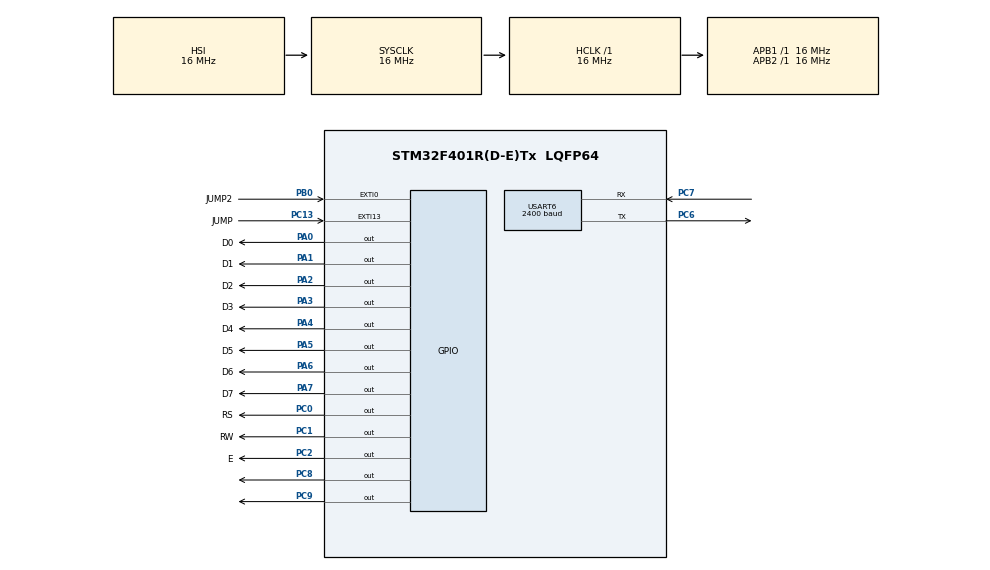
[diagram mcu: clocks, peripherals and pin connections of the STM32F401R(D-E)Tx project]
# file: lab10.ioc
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Mcu.Family=STM32F4
Mcu.Name=STM32F401R(D-E)Tx
Mcu.Package=LQFP64
NVIC.EXTI0_IRQn=true\:0\:0\:false\:false\:true\:true\:true\:true
NVIC.EXTI15_10_IRQn=true\:0\:0\:false\:false\:true\:true\:true\:true
NVIC.PriorityGroup=NVIC_PRIORITYGROUP_0
NVIC.USART6_IRQn=true\:0\:0\:false\:false\:true\:true\:true\:true
PA0-WKUP.GPIO_Label=D0
PA0-WKUP.GPIO_PuPd=GPIO_PULLDOWN
PA0-WKUP.GPIO_Speed=GPIO_SPEED_FREQ_VERY_HIGH
PA0-WKUP.Signal=GPIO_Output
PA1.GPIO_Label=D1
PA1.GPIO_PuPd=GPIO_PULLDOWN
PA1.GPIO_Speed=GPIO_SPEED_FREQ_VERY_HIGH
PA1.Signal=GPIO_Output
PA13.GPIO_Label=TMS
PA13.Mode=Serial_Wire
PA13.Signal=SYS_JTMS-SWDIO
PA14.GPIO_Label=TCK
PA14.Mode=Serial_Wire
PA14.Signal=SYS_JTCK-SWCLK
PA2.GPIO_Label=D2
PA2.GPIO_PuPd=GPIO_PULLDOWN
PA2.GPIO_Speed=GPIO_SPEED_FREQ_VERY_HIGH
PA2.Signal=GPIO_Output
PA3.GPIO_Label=D3
PA3.GPIO_PuPd=GPIO_PULLDOWN
PA3.GPIO_Speed=GPIO_SPEED_FREQ_VERY_HIGH
PA3.Signal=GPIO_Output
PA4.GPIO_Label=D4
PA4.GPIO_PuPd=GPIO_PULLDOWN
PA4.GPIO_Speed=GPIO_SPEED_FREQ_VERY_HIGH
PA4.Signal=GPIO_Output
PA5.GPIO_Label=D5
PA5.GPIO_PuPd=GPIO_PULLDOWN
PA5.GPIO_Speed=GPIO_SPEED_FREQ_VERY_HIGH
PA5.Signal=GPIO_Output
PA6.GPIO_Label=D6
PA6.GPIO_PuPd=GPIO_PULLDOWN
PA6.GPIO_Speed=GPIO_SPEED_FREQ_VERY_HIGH
PA6.Signal=GPIO_Output
PA7.GPIO_Label=D7
PA7.GPIO_PuPd=GPIO_PULLDOWN
PA7.GPIO_Speed=GPIO_SPEED_FREQ_VERY_HIGH
PA7.Signal=GPIO_Output
PB0.GPIO_Label=JUMP2
PB0.GPIO_PuPd=GPIO_PULLDOWN
PB0.Signal=GPXTI0
PB3.GPIO_Label=SWO
PB3.Signal=SYS_JTDO-SWO
PC0.GPIO_Label=RS
PC0.GPIO_PuPd=GPIO_PULLDOWN
PC0.GPIO_Speed=GPIO_SPEED_FREQ_VERY_HIGH
PC0.Signal=GPIO_Output
PC1.GPIO_Label=RW
PC1.GPIO_PuPd=GPIO_PULLDOWN
PC1.GPIO_Speed=GPIO_SPEED_FREQ_VERY_HIGH
PC1.Signal=GPIO_Output
PC13-ANTI_TAMP.GPIO_Label=JUMP
PC13-ANTI_TAMP.GPIO_ModeDefaultEXTI=GPIO_MODE_IT_RISING
PC13-ANTI_TAMP.GPIO_PuPd=GPIO_NOPULL
PC13-ANTI_TAMP.Signal=GPXTI13
PC14-OSC32_IN.Mode=LSE-External-Oscillator
PC14-OSC32_IN.Signal=RCC_OSC32_IN
PC15-OSC32_OUT.Mode=LSE-External-Oscillator
PC15-OSC32_OUT.Signal=RCC_OSC32_OUT
PC2.GPIO_Label=E
PC2.GPIO_PuPd=GPIO_PULLDOWN
PC2.GPIO_Speed=GPIO_SPEED_FREQ_VERY_HIGH
PC2.Signal=GPIO_Output
PC6.Mode=Asynchronous
PC6.Signal=USART6_TX
PC7.Mode=Asynchronous
PC7.Signal=USART6_RX
PC8.GPIO_PuPd=GPIO_PULLDOWN
PC8.GPIO_Speed=GPIO_SPEED_FREQ_VERY_HIGH
PC8.PinState=GPIO_PIN_RESET
PC8.Signal=GPIO_Output
PC9.GPIO_PuPd=GPIO_PULLDOWN
PC9.GPIO_Speed=GPIO_SPEED_FREQ_VERY_HIGH
PC9.Signal=GPIO_Output
PH0\ -\ OSC_IN.Mode=HSE-External-Clock-Source
PH0\ -\ OSC_IN.Signal=RCC_OSC_IN
PH1\ -\ OSC_OUT.Mode=HSE-External-Clock-Source
PH1\ -\ OSC_OUT.Signal=RCC_OSC_OUT
ProjectManager.HeapSize=0x200
ProjectManager.StackSize=0x400
ProjectManager.TargetToolchain=MDK-ARM V5.32
RCC.48MHZClocksFreq_Value=48000000
RCC.AHBFreq_Value=16000000
RCC.APB1Freq_Value=16000000
RCC.APB1TimFreq_Value=16000000
RCC.APB2Freq_Value=16000000
RCC.APB2TimFreq_Value=16000000
RCC.CortexFreq_Value=16000000
RCC.HCLKFreq_Value=16000000
RCC.HSE_VALUE=8000000
RCC.HSI_VALUE=16000000
RCC.PLLN=336
RCC.PLLP=RCC_PLLP_DIV4
RCC.PLLQ=7
RCC.SYSCLKFreq_VALUE=16000000
RCC.VCOOutputFreq_Value=336000000
USART6.BaudRate=2400
USART6.Mode=MODE_TX_RX
USART6.VirtualMode=VM_ASYNC
board=NUCLEO-F401RE

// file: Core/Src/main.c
/* USER CODE BEGIN Header */
/**
 ******************************************************************************
 * @file           : main.c
 * @brief          : Main program body
 ******************************************************************************
 * @attention
 *
 * Copyright (c) 2024 STMicroelectronics.
 * All rights reserved.
 *
 * This software is licensed under terms that can be found in the LICENSE file
 * in the root directory of this software component.
 * If no LICENSE file comes with this software, it is provided AS-IS.
 *
 ******************************************************************************
 */
/* USER CODE END Header */
#include "main.h"

/* USER CODE BEGIN PD */
#define VTBUFSIZE 64
#define LCD_COMMAND_CLEAR_DISPLAY 0x01
#define LCD_COMMAND_RETURN_HOME 0x02
#define LCD_COMMAND_INCREMENT_CURSOR 0x06
#define LCD_COMMAND_DISPLAY_ON_CURSOR_BLINKING 0x0F
#define LCD_COMMAND_BRING_CURSOR_FIRST_LINE 0x80
#define LCD_COMMAND_BRING_CURSOR_SECOND_LINE 0xC0
#define LCD_COMMAND_8_BIT_2_LINE_5_7_MATRIX 0x38
#define LCD_COMMAND_4_BIT_2_LINE_5_7_MATRIX 0x28
/* USER CODE END PD */

UART_HandleTypeDef huart6;

/* USER CODE BEGIN PV */
volatile int done = 0;
volatile int recieving_score = 0;
volatile int send_key = 0;
volatile int sequence_number = 0;

char vtbuf[VTBUFSIZE];
uint8_t ack_byte[] = {1, 2};

/* USER CODE END PV */

void SystemClock_Config(void);
static void MX_GPIO_Init(void);
static void MX_USART6_UART_Init(void);
/* USER CODE BEGIN PFP */
void lcd_init(void);
void lcd_command(uint8_t);
void lcd_enable(void);
void lcd_output_data(uint16_t);
void lcd_print_char(uint8_t);
void lcd_print_string(uint8_t *);

/* USER CODE END PFP */

/* USER CODE BEGIN 0 */
void HAL_UART_RxCpltCallback(UART_HandleTypeDef *huart)
{
    recieving_score = 1;
    HAL_UART_Transmit(&huart6, ack_byte + sequence_number, 1, HAL_MAX_DELAY);
    if (sequence_number >= 1)
    {
        done = 1;
        recieving_score = 0;
        sequence_number = 0;
    }
    else
    {
        sequence_number++;
        HAL_UART_Receive_IT(&huart6, (uint8_t *)(vtbuf + sequence_number), 1);
    }
}

void lcd_init()
{
    lcd_command(LCD_COMMAND_8_BIT_2_LINE_5_7_MATRIX);
    lcd_command(LCD_COMMAND_INCREMENT_CURSOR);
    lcd_command(LCD_COMMAND_CLEAR_DISPLAY);
    lcd_command(LCD_COMMAND_DISPLAY_ON_CURSOR_BLINKING);
}

void lcd_enable(void)
{
    HAL_GPIO_WritePin(E_GPIO_Port, E_Pin, GPIO_PIN_SET); // EN = 1 => enable
    HAL_Delay(1);
    HAL_GPIO_WritePin(E_GPIO_Port, E_Pin, GPIO_PIN_RESET); // EN = 0 => disable
}

void lcd_output_data(uint16_t data)
{
    D0_GPIO_Port->ODR &= ~(0xFFUL << 0); // clear data
    GPIOC->ODR &= ~(3UL << 8);           // clear data
    D0_GPIO_Port->ODR |= (data << 0);
    GPIOC->ODR |= (data << 6);
}

void lcd_command(uint8_t command)
{
    HAL_GPIO_WritePin(RS_GPIO_Port, RS_Pin, GPIO_PIN_RESET); // RS = 0 => command
    HAL_GPIO_WritePin(RW_GPIO_Port, RW_Pin, GPIO_PIN_RESET); // RW = 0 => write
    lcd_output_data(command);
    lcd_enable();
}

void lcd_print_char(uint8_t character)
{
    HAL_GPIO_WritePin(RS_GPIO_Port, RS_Pin, GPIO_PIN_SET);   // RS = 1 => data
    HAL_GPIO_WritePin(RW_GPIO_Port, RW_Pin, GPIO_PIN_RESET); // RW = 0 => write
    lcd_output_data(character);
    lcd_enable();
}

void lcd_print_string(uint8_t *string)
{
    while (*string != '\0')
    {
        lcd_print_char(*string);
        string++;
    }
}

void HAL_GPIO_EXTI_Callback(uint16_t GPIO_Pin)
{
    send_key = 1;
}

/* USER CODE END 0 */

int main(void)
{

    /* MCU Configuration--------------------------------------------------------*/

    /* Reset of all peripherals, Initializes the Flash interface and the Systick. */
    HAL_Init();

    /* Configure the system clock */
    SystemClock_Config();

    /* Initialize all configured peripherals */
    MX_GPIO_Init();
    MX_USART6_UART_Init();
    /* USER CODE BEGIN 2 */
    lcd_init();
    lcd_print_string("Hello World!");
    /* USER CODE END 2 */

    /* Infinite loop */
    /* USER CODE BEGIN WHILE */
    HAL_UART_Receive_IT(&huart6, (uint8_t *)vtbuf, 1);

    while (1)
    {
        /* USER CODE END WHILE */

        /* USER CODE BEGIN 3 */
        if (done)
        {
            uint16_t score = vtbuf[0];
            score |= ((uint16_t)vtbuf[1]) << 8;

            uint8_t buffer[32];
            sprintf(buffer, "Score= %05d", score);

            lcd_command(LCD_COMMAND_CLEAR_DISPLAY);
            lcd_print_string(buffer);

            done = 0;
            HAL_UART_Receive_IT(&huart6, (uint8_t *)vtbuf, 1);
        }

        if (!recieving_score && send_key)
        {
            uint8_t jump[] = {0xFF};
            HAL_UART_Transmit(&huart6, jump, 1, HAL_MAX_DELAY);
            send_key = 0;
        }
    }
    /* USER CODE END 3 */
}

void SystemClock_Config(void)
{
    RCC_OscInitTypeDef RCC_OscInitStruct = {0};
    RCC_ClkInitTypeDef RCC_ClkInitStruct = {0};

    /** Configure the main internal regulator output voltage
     */
    __HAL_RCC_PWR_CLK_ENABLE();
    __HAL_PWR_VOLTAGESCALING_CONFIG(PWR_REGULATOR_VOLTAGE_SCALE2);

    /** Initializes the RCC Oscillators according to the specified parameters
     * in the RCC_OscInitTypeDef structure.
     */
    RCC_OscInitStruct.OscillatorType = RCC_OSCILLATORTYPE_HSI;
    RCC_OscInitStruct.HSIState = RCC_HSI_ON;
    RCC_OscInitStruct.HSICalibrationValue = RCC_HSICALIBRATION_DEFAULT;
    RCC_OscInitStruct.PLL.PLLState = RCC_PLL_NONE;
    if (HAL_RCC_OscConfig(&RCC_OscInitStruct) != HAL_OK)
    {
        Error_Handler();
    }

    /** Initializes the CPU, AHB and APB buses clocks
     */
    RCC_ClkInitStruct.ClockType = RCC_CLOCKTYPE_HCLK | RCC_CLOCKTYPE_SYSCLK | RCC_CLOCKTYPE_PCLK1 | RCC_CLOCKTYPE_PCLK2;
    RCC_ClkInitStruct.SYSCLKSource = RCC_SYSCLKSOURCE_HSI;
    RCC_ClkInitStruct.AHBCLKDivider = RCC_SYSCLK_DIV1;
    RCC_ClkInitStruct.APB1CLKDivider = RCC_HCLK_DIV1;
    RCC_ClkInitStruct.APB2CLKDivider = RCC_HCLK_DIV1;

    if (HAL_RCC_ClockConfig(&RCC_ClkInitStruct, FLASH_LATENCY_0) != HAL_OK)
    {
        Error_Handler();
    }
}

static void MX_USART6_UART_Init(void)
{

    huart6.Instance = USART6;
    huart6.Init.BaudRate = 2400;
    huart6.Init.WordLength = UART_WORDLENGTH_8B;
    huart6.Init.StopBits = UART_STOPBITS_1;
    huart6.Init.Parity = UART_PARITY_NONE;
    huart6.Init.Mode = UART_MODE_TX_RX;
    huart6.Init.HwFlowCtl = UART_HWCONTROL_NONE;
    huart6.Init.OverSampling = UART_OVERSAMPLING_16;
    if (HAL_UART_Init(&huart6) != HAL_OK)
    {
        Error_Handler();
    }
}

static void MX_GPIO_Init(void)
{
    GPIO_InitTypeDef GPIO_InitStruct = {0};

    /* GPIO Ports Clock Enable */
    __HAL_RCC_GPIOC_CLK_ENABLE();
    __HAL_RCC_GPIOH_CLK_ENABLE();
    __HAL_RCC_GPIOA_CLK_ENABLE();
    __HAL_RCC_GPIOB_CLK_ENABLE();

    /*Configure GPIO pin Output Level */
    HAL_GPIO_WritePin(GPIOC, RS_Pin | RW_Pin | E_Pin | GPIO_PIN_8 | GPIO_PIN_9, GPIO_PIN_RESET);

    /*Configure GPIO pin Output Level */
    HAL_GPIO_WritePin(GPIOA, D0_Pin | D1_Pin | D2_Pin | D3_Pin | D4_Pin | D5_Pin | D6_Pin | D7_Pin, GPIO_PIN_RESET);

    /*Configure GPIO pin : JUMP_Pin */
    GPIO_InitStruct.Pin = JUMP_Pin;
    GPIO_InitStruct.Mode = GPIO_MODE_IT_RISING;
    GPIO_InitStruct.Pull = GPIO_NOPULL;
    HAL_GPIO_Init(JUMP_GPIO_Port, &GPIO_InitStruct);

    /*Configure GPIO pins : RS_Pin RW_Pin E_Pin PC8
                             PC9 */
    GPIO_InitStruct.Pin = RS_Pin | RW_Pin | E_Pin | GPIO_PIN_8 | GPIO_PIN_9;
    GPIO_InitStruct.Mode = GPIO_MODE_OUTPUT_PP;
    GPIO_InitStruct.Pull = GPIO_PULLDOWN;
    GPIO_InitStruct.Speed = GPIO_SPEED_FREQ_VERY_HIGH;
    HAL_GPIO_Init(GPIOC, &GPIO_InitStruct);

    /*Configure GPIO pins : D0_Pin D1_Pin D2_Pin D3_Pin
                             D4_Pin D5_Pin D6_Pin D7_Pin */
    GPIO_InitStruct.Pin = D0_Pin | D1_Pin | D2_Pin | D3_Pin | D4_Pin | D5_Pin | D6_Pin | D7_Pin;
    GPIO_InitStruct.Mode = GPIO_MODE_OUTPUT_PP;
    GPIO_InitStruct.Pull = GPIO_PULLDOWN;
    GPIO_InitStruct.Speed = GPIO_SPEED_FREQ_VERY_HIGH;
    HAL_GPIO_Init(GPIOA, &GPIO_InitStruct);

    /*Configure GPIO pin : JUMP2_Pin */
    GPIO_InitStruct.Pin = JUMP2_Pin;
    GPIO_InitStruct.Mode = GPIO_MODE_IT_RISING;
    GPIO_InitStruct.Pull = GPIO_PULLDOWN;
    HAL_GPIO_Init(JUMP2_GPIO_Port, &GPIO_InitStruct);

    /* EXTI interrupt init*/
    HAL_NVIC_SetPriority(EXTI0_IRQn, 0, 0);
    HAL_NVIC_EnableIRQ(EXTI0_IRQn);

    HAL_NVIC_SetPriority(EXTI15_10_IRQn, 0, 0);
    HAL_NVIC_EnableIRQ(EXTI15_10_IRQn);

}

void Error_Handler(void)
{
    __disable_irq();
    while (1)
    {
    }
}
